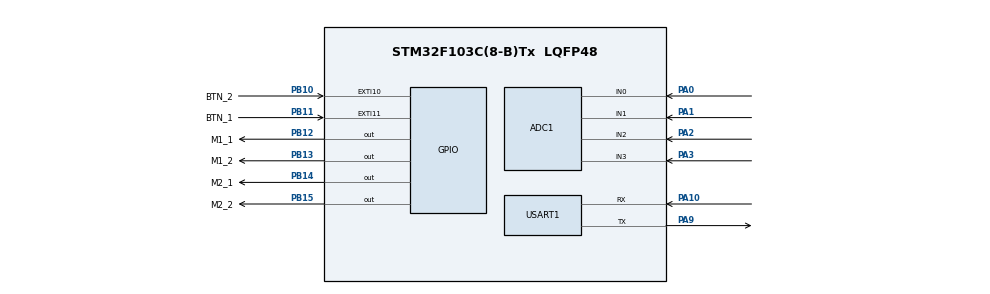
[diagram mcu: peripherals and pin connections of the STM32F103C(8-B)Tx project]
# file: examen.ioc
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ADC1.Channel-0\#ChannelRegularConversion=ADC_CHANNEL_0
ADC1.NbrOfConversionFlag=1
ADC1.Rank-0\#ChannelRegularConversion=1
ADC1.SamplingTime-0\#ChannelRegularConversion=ADC_SAMPLETIME_1CYCLE_5
ADC1.master=1
Dma.ADC1.0.Direction=DMA_PERIPH_TO_MEMORY
Dma.ADC1.0.Instance=DMA1_Channel1
Dma.ADC1.0.MemDataAlignment=DMA_MDATAALIGN_HALFWORD
Dma.ADC1.0.MemInc=DMA_MINC_ENABLE
Dma.ADC1.0.Mode=DMA_NORMAL
Dma.ADC1.0.PeriphDataAlignment=DMA_PDATAALIGN_HALFWORD
Dma.ADC1.0.PeriphInc=DMA_PINC_DISABLE
Dma.ADC1.0.Priority=DMA_PRIORITY_LOW
Dma.Request0=ADC1
FREERTOS.Tasks01=defaultTask,24,128,StartDefaultTask,Default,NULL,Dynamic,NULL,NULL
FREERTOS.configTOTAL_HEAP_SIZE=8000
FREERTOS.configUSE_NEWLIB_REENTRANT=1
FREERTOS.configUSE_TICKLESS_IDLE=1
Mcu.Family=STM32F1
Mcu.Name=STM32F103C(8-B)Tx
Mcu.Package=LQFP48
NVIC.ADC1_2_IRQn=true\:5\:0\:false\:false\:true\:true\:true\:true\:true
NVIC.DMA1_Channel1_IRQn=true\:5\:0\:false\:false\:true\:true\:false\:true\:true
NVIC.EXTI15_10_IRQn=true\:5\:0\:false\:false\:true\:true\:true\:true\:true
NVIC.PriorityGroup=NVIC_PRIORITYGROUP_4
NVIC.TIM1_UP_IRQn=true\:15\:0\:false\:false\:true\:false\:false\:true\:true
NVIC.TimeBase=TIM1_UP_IRQn
NVIC.TimeBaseIP=TIM1
NVIC.USART1_IRQn=true\:5\:0\:false\:false\:true\:true\:true\:true\:true
PA0-WKUP.Signal=ADCx_IN0
PA1.Signal=ADCx_IN1
PA10.Mode=Asynchronous
PA10.Signal=USART1_RX
PA13.Mode=Serial_Wire
PA13.Signal=SYS_JTMS-SWDIO
PA14.Mode=Serial_Wire
PA14.Signal=SYS_JTCK-SWCLK
PA2.Signal=ADCx_IN2
PA3.Signal=ADCx_IN3
PA9.Mode=Asynchronous
PA9.Signal=USART1_TX
PB10.GPIO_Label=BTN_2
PB10.Signal=GPXTI10
PB11.GPIO_Label=BTN_1
PB11.Signal=GPXTI11
PB12.GPIO_Label=M1_1
PB12.Signal=GPIO_Output
PB13.GPIO_Label=M1_2
PB13.Signal=GPIO_Output
PB14.GPIO_Label=M2_1
PB14.Signal=GPIO_Output
PB15.GPIO_Label=M2_2
PB15.Signal=GPIO_Output
PC14-OSC32_IN.Mode=LSE-External-Oscillator
PC14-OSC32_IN.Signal=RCC_OSC32_IN
PC15-OSC32_OUT.Mode=LSE-External-Oscillator
PC15-OSC32_OUT.Signal=RCC_OSC32_OUT
PD0-OSC_IN.Mode=HSE-External-Oscillator
PD0-OSC_IN.Signal=RCC_OSC_IN
PD1-OSC_OUT.Mode=HSE-External-Oscillator
PD1-OSC_OUT.Signal=RCC_OSC_OUT
ProjectManager.HeapSize=0x200
ProjectManager.StackSize=0x400
ProjectManager.TargetToolchain=STM32CubeIDE
RCC.APB1Freq_Value=8000000
RCC.APB2Freq_Value=8000000
SH.ADCx_IN0.0=ADC1_IN0,IN0
SH.ADCx_IN1.0=ADC1_IN1,IN1
SH.ADCx_IN2.0=ADC1_IN2,IN2
SH.ADCx_IN3.0=ADC1_IN3,IN3
USART1.VirtualMode=VM_ASYNC
VP_FREERTOS_VS_CMSIS_V2.Mode=CMSIS_V2
VP_SYS_VS_tim1.Mode=TIM1
board=custom

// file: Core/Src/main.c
/* USER CODE BEGIN Header */
/**
  ******************************************************************************
  * @file           : main.c
  * @brief          : Main program body
  ******************************************************************************
  * @attention
  *
  * Copyright (c) 2025 STMicroelectronics.
  * All rights reserved.
  *
  * This software is licensed under terms that can be found in the LICENSE file
  * in the root directory of this software component.
  * If no LICENSE file comes with this software, it is provided AS-IS.
  *
  ******************************************************************************
  */
/* USER CODE END Header */
#include "main.h"
#include "cmsis_os.h"

/* USER CODE BEGIN Includes */
#include "FreeRTOS.h"
#include "task.h"
#include "semphr.h"
#include "queue.h"
#include "string.h"
#include <stdio.h>
/* USER CODE END Includes */

/* USER CODE BEGIN PTD */
typedef struct TASK_DATA {
	uint16_t M_1_PIN;
	GPIO_TypeDef *M_1_PORT;
	uint16_t M_2_PIN;
	GPIO_TypeDef *M_2_PORT;

	uint8_t id;

	xSemaphoreHandle sem_BTN;
}TASK_DATA_T;

typedef struct {
	uint8_t id;
	uint32_t ampere;
	uint32_t volt;
	uint8_t condicion;
	uint8_t carga;
} queue_item_t;

/* USER CODE END PTD */

/* USER CODE BEGIN PD */
#define QUEUE_LEN (5)

#define VACIO 0
#define BAJA 1
#define MEDIA 2
#define ALTA 3

#define ALARMA 1
#define OK 0

#define V_MIN 5
#define V_MAX 150
#define I_MAX 5

/* USER CODE END PD */

ADC_HandleTypeDef hadc1;
DMA_HandleTypeDef hdma_adc1;

UART_HandleTypeDef huart1;

/* Definitions for defaultTask */
osThreadId_t defaultTaskHandle;
const osThreadAttr_t defaultTask_attributes = {
  .name = "defaultTask",
  .stack_size = 128 * 4,
  .priority = (osPriority_t) osPriorityNormal,
};
/* USER CODE BEGIN PV */

void wifi_send(char *str){}; // envío de mensajes a través del módulo WiFi

uint32_t medicion_corriente (uint8_t id) {return 0;}; // funcion para obterner el valor de Corriente segun medidor
uint32_t medicion_tension (uint8_t id) {return 0;};// funcion para obterner el valor de Tension segun medidor

uint8_t comprobar_medicion(uint8_t a ,TASK_DATA_T *p); // Devuelve 0 si las mediciones estan bien o 1 si hay error. Tambien carga en Queue los valores de Tension y Corriente

void conectarCarga(uint8_t CARGA, TASK_DATA_T *p);
void desconectarCarga(TASK_DATA_T *p);

static uint8_t dato_cola;
static QueueHandle_t queue_uart;

static TASK_DATA_T medidor1, medidor2;
/* USER CODE END PV */

void SystemClock_Config(void);
static void MX_GPIO_Init(void);
static void MX_DMA_Init(void);
static void MX_ADC1_Init(void);
static void MX_USART1_UART_Init(void);
void StartDefaultTask(void *argument);

/* USER CODE BEGIN PFP */

void conectarCarga(uint8_t CARGA, TASK_DATA_T *a){

	TASK_DATA_T *p;
	p = (TASK_DATA_T*)a;

	switch (CARGA) {

	case VACIO:
		HAL_GPIO_WritePin(p->M_1_PORT, p->M_1_PORT, GPIO_PIN_RESET);
		HAL_GPIO_WritePin(p->M_2_PORT, p->M_2_PORT, GPIO_PIN_RESET);
		break;
	case BAJA:
		HAL_GPIO_WritePin(p->M_1_PORT, p->M_1_PORT, GPIO_PIN_RESET);
		HAL_GPIO_WritePin(p->M_2_PORT, p->M_2_PORT, GPIO_PIN_SET);
		break;
	case MEDIA:
		HAL_GPIO_WritePin(p->M_1_PORT, p->M_1_PORT, GPIO_PIN_SET);
		HAL_GPIO_WritePin(p->M_2_PORT, p->M_2_PORT, GPIO_PIN_RESET);
		break;
	case ALTA:
		HAL_GPIO_WritePin(p->M_1_PORT, p->M_1_PORT, GPIO_PIN_SET);
		HAL_GPIO_WritePin(p->M_2_PORT, p->M_2_PORT, GPIO_PIN_SET);
		break;

	}

}

void desconectarCarga(TASK_DATA_T *p)
{
	HAL_GPIO_WritePin(p->M_1_PORT, p->M_1_PORT, GPIO_PIN_RESET);
	HAL_GPIO_WritePin(p->M_2_PORT, p->M_2_PORT, GPIO_PIN_RESET);
}

uint8_t comprobar_medicion(uint8_t load ,TASK_DATA_T *p)
{
	uint32_t Ampere;
	uint32_t Volt;
	queue_item_t item;

	//obtengo los valores del ADC
	Ampere = medicion_corriente (p->id);
	Volt = medicion_tension(p->id);
	item.ampere = Ampere;
	item.volt = Volt;
	item.id = p->id;
	item.carga = load;

	if(Volt < V_MIN || Volt > V_MAX || Ampere > I_MAX){ // Condicion de Alarma
		item.condicion =  ALARMA;
	}
	else // Condiciones normales
	{
		item.condicion =  OK;
	}
	xQueueSend(queue_uart, &item, 0);
}

static void initTasksData(void)
{
	medidor1.M_1_PORT = M1_1_GPIO_Port;
	medidor1.M_1_PIN = M1_1_Pin;
	medidor1.M_2_PORT = M1_2_GPIO_Port;
	medidor1.M_2_PIN = M1_2_Pin;
	medidor1.sem_BTN = xSemaphoreCreateBinary();
	medidor1.id = 1;

	medidor2.M_1_PORT = M2_1_GPIO_Port;
	medidor2.M_1_PIN = M2_1_Pin;
	medidor1.M_2_PORT = M2_2_GPIO_Port;
	medidor1.M_2_PIN = M2_2_Pin;
	medidor2.sem_BTN = xSemaphoreCreateBinary();
	medidor2.id = 2;

	HAL_GPIO_WritePin(M1_1_GPIO_Port, M1_1_Pin, GPIO_PIN_RESET);
	HAL_GPIO_WritePin(M1_2_GPIO_Port, M1_2_Pin, GPIO_PIN_RESET);
	HAL_GPIO_WritePin(M2_1_GPIO_Port, M2_1_Pin, GPIO_PIN_RESET);
	HAL_GPIO_WritePin(M2_2_GPIO_Port, M2_2_Pin, GPIO_PIN_RESET);

}

void task_medidor (void *a)
{
	TASK_DATA_T *p;
	p = (TASK_DATA_T*)a;
	uint8_t alarma = 0;
	uint8_t condiciones_normales = 0;
	uint8_t item;
	while(1){

		xSemaphoreTake(p->sem_BTN,portMAX_DELAY); // Espero que conecten el medidor y toquen el boton

		while(alarma == 0 || condiciones_normales == 0)
		{
			conectarCarga(VACIO, p); //Vacio
			vTaskDelay(2000); // 2 seg
			alarma = comprobar_medicion(VACIO,p);

			if(!alarma){
				vTaskDelay(3000);
				conectarCarga(BAJA, p);
				vTaskDelay(2000);
				alarma = comprobar_medicion(BAJA,p);
			}

			if(!alarma){
				vTaskDelay(3000);
				conectarCarga(MEDIA, p);
				vTaskDelay(2000);
				alarma = comprobar_medicion(MEDIA,p);
			}

			if(!alarma){
				vTaskDelay(3000);
				conectarCarga(ALTA, p);
				vTaskDelay(2000);
				alarma = comprobar_medicion(ALTA,p);
			}

			if(alarma == 0) // Todo bien
			{
				condiciones_normales = 1; // salgo del while
			}
		}

		if(alarma == 1) // Error
		{
			desconectarCarga(p);
			vTaskDelay(10000); // Espero 10 segundos de que ocurrio el error
		}

		// Reseteo banderas
		condiciones_normales = 0;
		alarma = 0;

	}

}

void Task_uart (void *a)
{

	queue_item_t item;
	uint8_t buff[20];

	while(1){
		xQueueReceive(queue_uart, &item, portMAX_DELAY);

		if(item.condicion == OK)
		{
			snprintf((char*)buff,20,"Transformador %d - Carga %d - %d V - %d A\r\n", item.id , item.carga , item.volt, item.ampere);
		}
		else if(item.condicion == ALARMA)
		{
			snprintf((char*)buff,20,"Transformador %d - ERROR - %d V - %d A\r\n",item.id , item.volt, item.ampere);
		}

		wifi_send(buff);
	}
}

void HAL_GPIO_EXTI_Callback(uint16_t GPIO_Pin)
{
	BaseType_t switch_required = pdFALSE;

	switch (GPIO_Pin) {

	case BTN_1_Pin:
		xSemaphoreGiveFromISR(medidor1.sem_BTN,&switch_required);
		break;

	case BTN_2_Pin:
		xSemaphoreGiveFromISR(medidor2.sem_BTN,&switch_required);
		break;
	default:
		break;
	}
	portEND_SWITCHING_ISR(switch_required);
}
/* USER CODE END PFP */

int main(void)
{

  /* MCU Configuration--------------------------------------------------------*/

  /* Reset of all peripherals, Initializes the Flash interface and the Systick. */
  HAL_Init();

  /* Configure the system clock */
  SystemClock_Config();

  /* Initialize all configured peripherals */
  MX_GPIO_Init();
  MX_DMA_Init();
  MX_ADC1_Init();
  MX_USART1_UART_Init();
  /* USER CODE BEGIN 2 */
  initTasksData();
  /* USER CODE END 2 */

  /* Init scheduler */
  osKernelInitialize();

  /* Create the thread(s) */
  /* creation of defaultTask */
  defaultTaskHandle = osThreadNew(StartDefaultTask, NULL, &defaultTask_attributes);

  /* USER CODE BEGIN RTOS_THREADS */
  /* add threads, ... */

  xTaskCreate(task_medidor, (const char *)"taskMedidor1", configMINIMAL_STACK_SIZE, &medidor1, osPriorityNormal, 0);
  xTaskCreate(task_medidor, (const char *)"taskMedidor2", configMINIMAL_STACK_SIZE, &medidor2, osPriorityNormal, 0);
  xTaskCreate(Task_uart, (const char *)"task_uart", configMINIMAL_STACK_SIZE, NULL, osPriorityNormal, 0);
  /* USER CODE END RTOS_THREADS */

  /* Start scheduler */
  osKernelStart();

  /* We should never get here as control is now taken by the scheduler */

  /* Infinite loop */
  while (1)
  {

  }
}

void SystemClock_Config(void)
{
  RCC_OscInitTypeDef RCC_OscInitStruct = {0};
  RCC_ClkInitTypeDef RCC_ClkInitStruct = {0};
  RCC_PeriphCLKInitTypeDef PeriphClkInit = {0};

  /** Initializes the RCC Oscillators according to the specified parameters
  * in the RCC_OscInitTypeDef structure.
  */
  RCC_OscInitStruct.OscillatorType = RCC_OSCILLATORTYPE_HSI;
  RCC_OscInitStruct.HSIState = RCC_HSI_ON;
  RCC_OscInitStruct.HSICalibrationValue = RCC_HSICALIBRATION_DEFAULT;
  RCC_OscInitStruct.PLL.PLLState = RCC_PLL_NONE;
  if (HAL_RCC_OscConfig(&RCC_OscInitStruct) != HAL_OK)
  {
    Error_Handler();
  }

  /** Initializes the CPU, AHB and APB buses clocks
  */
  RCC_ClkInitStruct.ClockType = RCC_CLOCKTYPE_HCLK|RCC_CLOCKTYPE_SYSCLK
                              |RCC_CLOCKTYPE_PCLK1|RCC_CLOCKTYPE_PCLK2;
  RCC_ClkInitStruct.SYSCLKSource = RCC_SYSCLKSOURCE_HSI;
  RCC_ClkInitStruct.AHBCLKDivider = RCC_SYSCLK_DIV1;
  RCC_ClkInitStruct.APB1CLKDivider = RCC_HCLK_DIV1;
  RCC_ClkInitStruct.APB2CLKDivider = RCC_HCLK_DIV1;

  if (HAL_RCC_ClockConfig(&RCC_ClkInitStruct, FLASH_LATENCY_0) != HAL_OK)
  {
    Error_Handler();
  }
  PeriphClkInit.PeriphClockSelection = RCC_PERIPHCLK_ADC;
  PeriphClkInit.AdcClockSelection = RCC_ADCPCLK2_DIV2;
  if (HAL_RCCEx_PeriphCLKConfig(&PeriphClkInit) != HAL_OK)
  {
    Error_Handler();
  }
}

static void MX_ADC1_Init(void)
{

  ADC_ChannelConfTypeDef sConfig = {0};

  /** Common config
  */
  hadc1.Instance = ADC1;
  hadc1.Init.ScanConvMode = ADC_SCAN_DISABLE;
  hadc1.Init.ContinuousConvMode = DISABLE;
  hadc1.Init.DiscontinuousConvMode = DISABLE;
  hadc1.Init.ExternalTrigConv = ADC_SOFTWARE_START;
  hadc1.Init.DataAlign = ADC_DATAALIGN_RIGHT;
  hadc1.Init.NbrOfConversion = 1;
  if (HAL_ADC_Init(&hadc1) != HAL_OK)
  {
    Error_Handler();
  }

  /** Configure Regular Channel
  */
  sConfig.Channel = ADC_CHANNEL_0;
  sConfig.Rank = ADC_REGULAR_RANK_1;
  sConfig.SamplingTime = ADC_SAMPLETIME_1CYCLE_5;
  if (HAL_ADC_ConfigChannel(&hadc1, &sConfig) != HAL_OK)
  {
    Error_Handler();
  }

}

static void MX_USART1_UART_Init(void)
{

  huart1.Instance = USART1;
  huart1.Init.BaudRate = 115200;
  huart1.Init.WordLength = UART_WORDLENGTH_8B;
  huart1.Init.StopBits = UART_STOPBITS_1;
  huart1.Init.Parity = UART_PARITY_NONE;
  huart1.Init.Mode = UART_MODE_TX_RX;
  huart1.Init.HwFlowCtl = UART_HWCONTROL_NONE;
  huart1.Init.OverSampling = UART_OVERSAMPLING_16;
  if (HAL_UART_Init(&huart1) != HAL_OK)
  {
    Error_Handler();
  }

}

static void MX_DMA_Init(void)
{

  /* DMA controller clock enable */
  __HAL_RCC_DMA1_CLK_ENABLE();

  /* DMA interrupt init */
  /* DMA1_Channel1_IRQn interrupt configuration */
  HAL_NVIC_SetPriority(DMA1_Channel1_IRQn, 5, 0);
  HAL_NVIC_EnableIRQ(DMA1_Channel1_IRQn);

}

static void MX_GPIO_Init(void)
{
  GPIO_InitTypeDef GPIO_InitStruct = {0};

  /* GPIO Ports Clock Enable */
  __HAL_RCC_GPIOC_CLK_ENABLE();
  __HAL_RCC_GPIOD_CLK_ENABLE();
  __HAL_RCC_GPIOA_CLK_ENABLE();
  __HAL_RCC_GPIOB_CLK_ENABLE();

  /*Configure GPIO pin Output Level */
  HAL_GPIO_WritePin(GPIOB, M1_1_Pin|M1_2_Pin|M2_1_Pin|M2_2_Pin, GPIO_PIN_RESET);

  /*Configure GPIO pins : BTN_2_Pin BTN_1_Pin */
  GPIO_InitStruct.Pin = BTN_2_Pin|BTN_1_Pin;
  GPIO_InitStruct.Mode = GPIO_MODE_IT_RISING;
  GPIO_InitStruct.Pull = GPIO_NOPULL;
  HAL_GPIO_Init(GPIOB, &GPIO_InitStruct);

  /*Configure GPIO pins : M1_1_Pin M1_2_Pin M2_1_Pin M2_2_Pin */
  GPIO_InitStruct.Pin = M1_1_Pin|M1_2_Pin|M2_1_Pin|M2_2_Pin;
  GPIO_InitStruct.Mode = GPIO_MODE_OUTPUT_PP;
  GPIO_InitStruct.Pull = GPIO_NOPULL;
  GPIO_InitStruct.Speed = GPIO_SPEED_FREQ_LOW;
  HAL_GPIO_Init(GPIOB, &GPIO_InitStruct);

  /* EXTI interrupt init*/
  HAL_NVIC_SetPriority(EXTI15_10_IRQn, 5, 0);
  HAL_NVIC_EnableIRQ(EXTI15_10_IRQn);

}

void StartDefaultTask(void *argument)
{
  for(;;)
  {
    osDelay(1);
  }
}

void HAL_TIM_PeriodElapsedCallback(TIM_HandleTypeDef *htim)
{
  if (htim->Instance == TIM1)
  {
    HAL_IncTick();
  }
}

void Error_Handler(void)
{
  __disable_irq();
  while (1)
  {
  }
}
